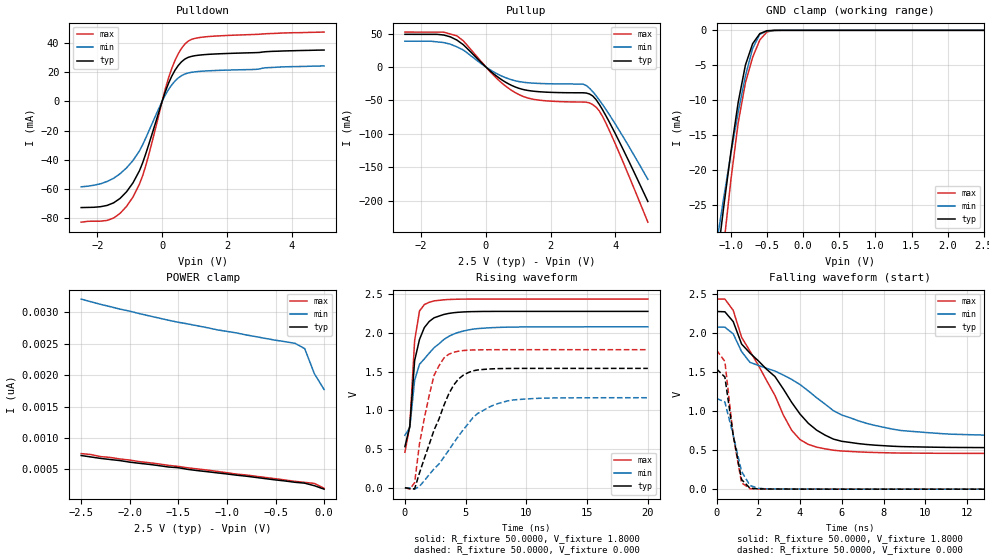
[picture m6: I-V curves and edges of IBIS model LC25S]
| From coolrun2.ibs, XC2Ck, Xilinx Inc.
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|   Model LC25S
[Model]   LC25S
Model_type   I/O
Polarity   Inverting
Enable   Active-High
Vinl =   0.7000V
Vinh =   1.7000V
Vmeas =   1.250V
Cref =  35.0000pF
Rref =  94.000
Vref =  1.2500V
C_comp   1.4810pF   0.9482pF   2.0140pF
[Temperature Range]   25.0000   100.0000   0.000
[Voltage Range]   2.5000V   2.4000V   2.6000V
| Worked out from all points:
|   slope of the pulldown table from 0 to 0.375 V, typ, clamps not added: 18.5 ohm
|   slope of the pullup table from 0 to 0.375 V, typ, clamps not added: 24.6 ohm
|   GND clamp passes 1 mA (typ) near -0.64 V on its own axis
|   rising waveform, R_fixture 50.0000, V_fixture 1.8000: 20-80 % time 793ps typ, 1.82ns min, 527ps max; typ from 0.531 V to 2.28 V
|   rising waveform, R_fixture 50.0000, V_fixture 0.000: 20-80 % time 2.24ns typ, 3.45ns min, 1.33ns max; typ from 0 V to 1.54 V
|   falling waveform, R_fixture 50.0000, V_fixture 1.8000: 20-80 % time 3.17ns typ, 4.8ns min, 2.31ns max; typ from 2.28 V to 0.531 V
|   falling waveform, R_fixture 50.0000, V_fixture 0.000: 20-80 % time 560ps typ, 619ps min, 529ps max; typ from 1.54 V to 0 V
[Pulldown]
| voltage   I(typ)   I(min)   I(max)
-2.5V     -72.7mA    -58.5mA    -82.7mA
-1.5V     -69.49mA   -52.7mA    -79.89mA
-1.1V     -61.91mA   -45.58mA   -71.93mA
-900mV    -55.79mA   -40.51mA   -65.46mA
-700mV    -47.49mA   -33.88mA   -56.62mA
-500mV    -35.5mA    -24.82mA   -43.63mA
100mV     6.708mA    4.397mA    8.665mA
300mV     17.31mA    11.32mA    22.64mA
500mV     24.55mA    15.99mA    32.62mA
800mV     29.99mA    19.33mA    41.08mA
1.6V      32.3mA     21mA       44.53mA
5V        35.03mA    24.18mA    47.31mA
[Pullup]
| voltage   I(typ)   I(min)   I(max)
-2.5V     48.81mA    38.52mA    52.14mA
-1.3V     47.74mA    36.49mA    52.01mA
-900mV    40.34mA    30.18mA    46.66mA
400mV     -16.16mA   -11.51mA   -19.99mA
1.2V      -34.17mA   -23.05mA   -44.87mA
1.8V      -37.42mA   -24.84mA   -50.29mA
3V        -38.52mA   -25.64mA   -52.35mA
3.2V      -40.33mA   -31.81mA   -53.73mA
3.4V      -48.64mA   -42.83mA   -59.93mA
3.6V      -63.79mA   -56.04mA   -73.79mA
3.8V      -81.32mA   -70.39mA   -93.7mA
5V        -200.8mA   -167.8mA   -231.8mA
[GND_clamp]
| voltage   I(typ)   I(min)   I(max)
-2.5V     -159.3mA   -132.2mA   -186.8mA
-1.2V     -33.66mA   -30.6mA    -40.86mA
-1.1V     -25.24mA   -23.93mA   -30.77mA
-1V       -17.33mA   -17.6mA    -21.32mA
-900mV    -10.3mA    -11.71mA   -13.24mA
-800mV    -4.969mA   -6.517mA   -7.512mA
-700mV    -1.912mA   -2.587mA   -3.865mA
-600mV    -461.7uA   -562.4uA   -1.358mA
-500mV    -51.63uA   -96.01uA   -215.1uA
-400mV    -3.51uA    -19.18uA   -14.58uA
2.5V      186.8pA    4.616nA    180.1pA
[POWER_clamp]
| voltage   I(typ)   I(min)   I(max)
-2.5V     721.8pA    3.209nA    751.9pA
-2.4V     698.6pA    3.166nA    737.1pA
-2.3V     675.8pA    3.125nA    704.3pA
-2.1V     640.8pA    3.049nA    666.5pA
-1.6V     538.7pA    2.872nA    564.9pA
-1.5V     527.5pA    2.84nA     548.8pA
-1.4V     500.7pA    2.813nA    525.2pA
-1.1V     445.5pA    2.72nA     469.4pA
-300mV    296.1pA    2.506nA    311.2pA
-200mV    282.2pA    2.422nA    294.7pA
-100mV    241.4pA    2.022nA    278.4pA
0V        186.6pA    1.771nA    200.5pA
[Ramp]
| variable   typ   min   max
dV/dt_r   0.9246/2.1317n   0.6972/3.4318n   1.0692/1.3831n
dV/dt_f   0.9278/2.8816n   0.6216/3.8901n   1.1544/2.1702n
R_load = 50.0000
[Rising Waveform]
R_fixture = 50.0000
V_fixture = 1.8000
V_fixture_min = 1.6000
V_fixture_max = 2.0000
L_fixture = 0.000H
C_fixture = 0.000F
| time   V(typ)   V(min)   V(max)
0s        530.7mV    677.8mV    458.1mV
400ps     793.1mV    774.5mV    797mV
800ps     1.643V     1.389V     1.899V
1.2ns     1.915V     1.594V     2.282V
1.6ns     2.068V     1.664V     2.365V
2.4ns     2.194V     1.808V     2.413V
3.6ns     2.251V     1.954V     2.43V
5.6ns     2.274V     2.048V     2.436V
8.8ns     2.277V     2.075V     2.436V
20ns      2.277V     2.078V     2.436V
[Rising Waveform]
R_fixture = 50.0000
V_fixture = 0.000
V_fixture_min = 0.000
V_fixture_max = 0.000
L_fixture = 0.000H
C_fixture = 0.000F
| time   V(typ)   V(min)   V(max)
0s        0V         0V         0V
800ps     -14.29mV   -18.73mV   63.79mV
1.2ns     192mV      18.01mV    567.9mV
2.4ns     745.3mV    244.9mV    1.452V
3.6ns     1.208V     482.5mV    1.723V
4.4ns     1.402V     664.3mV    1.763V
5.2ns     1.486V     824.2mV    1.776V
6ns       1.521V     959.2mV    1.78V
8.4ns     1.54V      1.119V     1.782V
20ns      1.541V     1.162V     1.782V
[Falling Waveform]
R_fixture = 50.0000
V_fixture = 1.8000
V_fixture_min = 1.6000
V_fixture_max = 2.0000
L_fixture = 0.000H
C_fixture = 0.000F
| time   V(typ)   V(min)   V(max)
0s        2.277V     2.078V     2.436V
800ps     2.147V     1.99V      2.292V
1.2ns     1.86V      1.763V     1.946V
1.6ns     1.744V     1.625V     1.77V
2.8ns     1.443V     1.514V     1.2V
3.6ns     1.112V     1.407V     754.7mV
4.4ns     843.2mV    1.258V     572.9mV
6ns       613.3mV    950.2mV    488.8mV
8.8ns     545.9mV    752.5mV    463mV
20ns      530.7mV    678.7mV    458.1mV
[Falling Waveform]
R_fixture = 50.0000
V_fixture = 0.000
V_fixture_min = 0.000
V_fixture_max = 0.000
L_fixture = 0.000H
C_fixture = 0.000F
| time   V(typ)   V(min)   V(max)
0s        1.541V     1.162V     1.782V
400ps     1.437V     1.118V     1.637V
800ps     688.5mV    690.4mV    685mV
1.2ns     122.8mV    227.2mV    80.97mV
1.6ns     12.92mV    47.83mV    6.489mV
2ns       4.119mV    11.2mV     2.216mV
2.8ns     1.71mV     2.27mV     1.682mV
20ns      0V         1.402uV    0V
